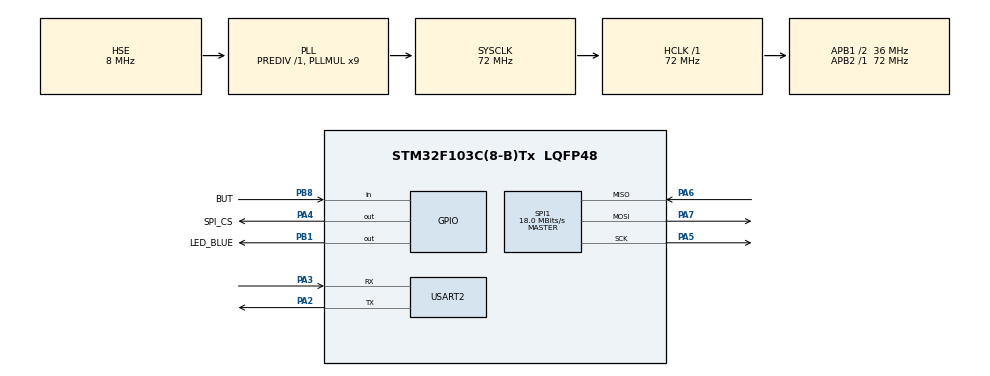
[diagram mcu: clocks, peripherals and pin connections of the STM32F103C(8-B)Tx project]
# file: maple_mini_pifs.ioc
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FREERTOS.HEAP_NUMBER=3
FREERTOS.Tasks01=defaultTask,0,1024,StartDefaultTask,Default,NULL,Dynamic,NULL,NULL
FREERTOS.configCHECK_FOR_STACK_OVERFLOW=2
FREERTOS.configGENERATE_RUN_TIME_STATS=1
FREERTOS.configTOTAL_HEAP_SIZE=10240
FREERTOS.configUSE_MALLOC_FAILED_HOOK=1
FREERTOS.configUSE_STATS_FORMATTING_FUNCTIONS=1
FREERTOS.configUSE_TRACE_FACILITY=1
IWDG.Prescaler=IWDG_PRESCALER_32
IWDG.Reload=1000
Mcu.Family=STM32F1
Mcu.Name=STM32F103C(8-B)Tx
Mcu.Package=LQFP48
NVIC.PriorityGroup=NVIC_PRIORITYGROUP_4
NVIC.TIM4_IRQn=true\:0\:0\:false\:false\:true\:false\:true
NVIC.TimeBase=TIM4_IRQn
NVIC.TimeBaseIP=TIM4
PA13.Mode=Serial_Wire
PA13.Signal=SYS_JTMS-SWDIO
PA14.Mode=Serial_Wire
PA14.Signal=SYS_JTCK-SWCLK
PA2.Mode=Asynchronous
PA2.Signal=USART2_TX
PA3.Mode=Asynchronous
PA3.Signal=USART2_RX
PA4.GPIO_Label=SPI_CS
PA4.Signal=GPIO_Output
PA5.Mode=Full_Duplex_Master
PA5.Signal=SPI1_SCK
PA6.Mode=Full_Duplex_Master
PA6.Signal=SPI1_MISO
PA7.Mode=Full_Duplex_Master
PA7.Signal=SPI1_MOSI
PB1.GPIO_Label=LED_BLUE
PB1.Signal=GPIO_Output
PB8.GPIO_Label=BUT
PB8.Signal=GPIO_Input
PD0-OSC_IN.Mode=HSE-External-Oscillator
PD0-OSC_IN.Signal=RCC_OSC_IN
PD1-OSC_OUT.Mode=HSE-External-Oscillator
PD1-OSC_OUT.Signal=RCC_OSC_OUT
ProjectManager.HeapSize=0x200
ProjectManager.StackSize=0x400
ProjectManager.TargetToolchain=SW4STM32
RCC.AHBFreq_Value=72000000
RCC.APB1CLKDivider=RCC_HCLK_DIV2
RCC.APB1Freq_Value=36000000
RCC.APB1TimFreq_Value=72000000
RCC.APB2Freq_Value=72000000
RCC.APB2TimFreq_Value=72000000
RCC.HCLKFreq_Value=72000000
RCC.PLLMUL=RCC_PLL_MUL9
RCC.PLLSourceVirtual=RCC_PLLSOURCE_HSE
RCC.SYSCLKFreq_VALUE=72000000
RCC.SYSCLKSource=RCC_SYSCLKSOURCE_PLLCLK
RCC.USBFreq_Value=72000000
SPI1.BaudRatePrescaler=SPI_BAUDRATEPRESCALER_4
SPI1.CalculateBaudRate=18.0 MBits/s
SPI1.Direction=SPI_DIRECTION_2LINES
SPI1.Mode=SPI_MODE_MASTER
SPI1.VirtualType=VM_MASTER
USART2.VirtualMode=VM_ASYNC
VP_FREERTOS_VS_ENABLE.Mode=Enabled
VP_IWDG_VS_IWDG.Mode=IWDG_Activate
VP_SYS_VS_tim4.Mode=TIM4
board=maple_mini_pifs

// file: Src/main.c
/**
  ******************************************************************************
  * @file           : main.c
  * @brief          : Main program body
  ******************************************************************************
  * This notice applies to any and all portions of this file
  * that are not between comment pairs USER CODE BEGIN and
  * USER CODE END. Other portions of this file, whether
  * inserted by the user or by software development tools
  * are owned by their respective copyright owners.
  *
  * Copyright (c) 2018 STMicroelectronics International N.V.
  * All rights reserved.
  *
  * Redistribution and use in source and binary forms, with or without
  * modification, are permitted, provided that the following conditions are met:
  *
  * 1. Redistribution of source code must retain the above copyright notice,
  *    this list of conditions and the following disclaimer.
  * 2. Redistributions in binary form must reproduce the above copyright notice,
  *    this list of conditions and the following disclaimer in the documentation
  *    and/or other materials provided with the distribution.
  * 3. Neither the name of STMicroelectronics nor the names of other
  *    contributors to this software may be used to endorse or promote products
  *    derived from this software without specific written permission.
  * 4. This software, including modifications and/or derivative works of this
  *    software, must execute solely and exclusively on microcontroller or
  *    microprocessor devices manufactured by or for STMicroelectronics.
  * 5. Redistribution and use of this software other than as permitted under
  *    this license is void and will automatically terminate your rights under
  *    this license.
  *
  * THIS SOFTWARE IS PROVIDED BY STMICROELECTRONICS AND CONTRIBUTORS "AS IS"
  * AND ANY EXPRESS, IMPLIED OR STATUTORY WARRANTIES, INCLUDING, BUT NOT
  * LIMITED TO, THE IMPLIED WARRANTIES OF MERCHANTABILITY, FITNESS FOR A
  * PARTICULAR PURPOSE AND NON-INFRINGEMENT OF THIRD PARTY INTELLECTUAL PROPERTY
  * RIGHTS ARE DISCLAIMED TO THE FULLEST EXTENT PERMITTED BY LAW. IN NO EVENT
  * SHALL STMICROELECTRONICS OR CONTRIBUTORS BE LIABLE FOR ANY DIRECT, INDIRECT,
  * INCIDENTAL, SPECIAL, EXEMPLARY, OR CONSEQUENTIAL DAMAGES (INCLUDING, BUT NOT
  * LIMITED TO, PROCUREMENT OF SUBSTITUTE GOODS OR SERVICES; LOSS OF USE, DATA,
  * OR PROFITS; OR BUSINESS INTERRUPTION) HOWEVER CAUSED AND ON ANY THEORY OF
  * LIABILITY, WHETHER IN CONTRACT, STRICT LIABILITY, OR TORT (INCLUDING
  * NEGLIGENCE OR OTHERWISE) ARISING IN ANY WAY OUT OF THE USE OF THIS SOFTWARE,
  * EVEN IF ADVISED OF THE POSSIBILITY OF SUCH DAMAGE.
  *
  ******************************************************************************
  */
#include "main.h"
#include "stm32f1xx_hal.h"
#include "cmsis_os.h"

/* USER CODE BEGIN Includes */
#include <stdio.h>
#include <string.h>
#include <stdarg.h>
#include "common.h"
#include "uart.h"
#include "../../../source/term/term.h"

#define DISABLE_WATCHDOG_MAGIC  0xDEADBEEF
#define ENABLE_TERMINAL         1
#define ENABLE_FLASH_TEST       0
#define ENABLE_PIFS_TEST        0
#define ENABLE_ERASE_ALL        0
/* USER CODE END Includes */

IWDG_HandleTypeDef hiwdg;

SPI_HandleTypeDef hspi1;

UART_HandleTypeDef huart2;

osThreadId defaultTaskHandle;

/* USER CODE BEGIN PV */
/* Private variables ---------------------------------------------------------*/
osThreadId watchdogTaskHandle;
osMutexDef(printf_mutex);
osMutexId printf_mutex = NULL;
uint32_t disableWatchdog = 0;
extern void defaultTask(void const * argument);
/* USER CODE END PV */

void SystemClock_Config(void);
static void MX_GPIO_Init(void);
static void MX_IWDG_Init(void);
static void MX_USART2_UART_Init(void);
static void MX_SPI1_Init(void);
void StartDefaultTask(void const * argument);

/* USER CODE BEGIN PFP */
/* Private function prototypes -----------------------------------------------*/
void watchdogTask(void const * arg);
/* USER CODE END PFP */

/* USER CODE BEGIN 0 */
static inline void LED_on(void)
{
    HAL_GPIO_WritePin(LED_BLUE_GPIO_Port, LED_BLUE_Pin, GPIO_PIN_SET);
}

static inline void LED_off(void)
{
    HAL_GPIO_WritePin(LED_BLUE_GPIO_Port, LED_BLUE_Pin, GPIO_PIN_RESET);
}

static inline void LED_toggle(void)
{
    HAL_GPIO_TogglePin(LED_BLUE_GPIO_Port, LED_BLUE_Pin);
}
/* USER CODE END 0 */

int main(void)
{

  /* MCU Configuration----------------------------------------------------------*/

  /* Reset of all peripherals, Initializes the Flash interface and the Systick. */
  HAL_Init();

  /* Configure the system clock */
  SystemClock_Config();

  /* USER CODE BEGIN SysInit */
  /* Enable division by zero fault */
  SCB->CCR |= 0x10;
  /* USER CODE END SysInit */

  /* Initialize all configured peripherals */
  MX_GPIO_Init();
  MX_IWDG_Init();
  MX_USART2_UART_Init();
  MX_SPI1_Init();
  /* USER CODE BEGIN 2 */
  srand(time(0));
  UART_printf_("\r\n\r\nBoard initialized\r\n");
#if DEBUG == 1
  UART_printf_("DEBUG\r\n");
#else
  UART_printf_("RELEASE\r\n");
#endif
  UART_printf_("Compiled on " __DATE__ " " __TIME__ "\r\n");
#if ENABLE_WATCHDOG
  UART_printf_("Watchdog started\r\n");
  HAL_IWDG_Refresh(&hiwdg);
#else
  UART_printf_("Watchdog disabled\r\n");
#endif
  setbuf(stdout, NULL);
  printf("+++ printf test! +++\r\n");
  /* USER CODE END 2 */

  /* USER CODE BEGIN RTOS_MUTEX */
  printf_mutex = osMutexCreate(osMutex(printf_mutex));
  /* USER CODE END RTOS_MUTEX */

  /* Create the thread(s) */
  /* definition and creation of defaultTask */
  osThreadDef(defaultTask, StartDefaultTask, osPriorityNormal, 0, 1024);
  defaultTaskHandle = osThreadCreate(osThread(defaultTask), NULL);

  /* USER CODE BEGIN RTOS_THREADS */
  osThreadDef(watchdogTask, watchdogTask, osPriorityNormal, 0, 64);
  watchdogTaskHandle = osThreadCreate(osThread(watchdogTask), NULL);
  /* USER CODE END RTOS_THREADS */

  /* Start scheduler */
  osKernelStart();

  /* We should never get here as control is now taken by the scheduler */

  /* Infinite loop */
  while (1)
  {

  }

}

void SystemClock_Config(void)
{

  RCC_OscInitTypeDef RCC_OscInitStruct;
  RCC_ClkInitTypeDef RCC_ClkInitStruct;

    /**Initializes the CPU, AHB and APB busses clocks
    */
  RCC_OscInitStruct.OscillatorType = RCC_OSCILLATORTYPE_LSI|RCC_OSCILLATORTYPE_HSE;
  RCC_OscInitStruct.HSEState = RCC_HSE_ON;
  RCC_OscInitStruct.HSEPredivValue = RCC_HSE_PREDIV_DIV1;
  RCC_OscInitStruct.HSIState = RCC_HSI_ON;
  RCC_OscInitStruct.LSIState = RCC_LSI_ON;
  RCC_OscInitStruct.PLL.PLLState = RCC_PLL_ON;
  RCC_OscInitStruct.PLL.PLLSource = RCC_PLLSOURCE_HSE;
  RCC_OscInitStruct.PLL.PLLMUL = RCC_PLL_MUL9;
  if (HAL_RCC_OscConfig(&RCC_OscInitStruct) != HAL_OK)
  {
    _Error_Handler(__FILE__, __LINE__);
  }

    /**Initializes the CPU, AHB and APB busses clocks
    */
  RCC_ClkInitStruct.ClockType = RCC_CLOCKTYPE_HCLK|RCC_CLOCKTYPE_SYSCLK
                              |RCC_CLOCKTYPE_PCLK1|RCC_CLOCKTYPE_PCLK2;
  RCC_ClkInitStruct.SYSCLKSource = RCC_SYSCLKSOURCE_PLLCLK;
  RCC_ClkInitStruct.AHBCLKDivider = RCC_SYSCLK_DIV1;
  RCC_ClkInitStruct.APB1CLKDivider = RCC_HCLK_DIV2;
  RCC_ClkInitStruct.APB2CLKDivider = RCC_HCLK_DIV1;

  if (HAL_RCC_ClockConfig(&RCC_ClkInitStruct, FLASH_LATENCY_2) != HAL_OK)
  {
    _Error_Handler(__FILE__, __LINE__);
  }

    /**Configure the Systick interrupt time
    */
  HAL_SYSTICK_Config(HAL_RCC_GetHCLKFreq()/1000);

    /**Configure the Systick
    */
  HAL_SYSTICK_CLKSourceConfig(SYSTICK_CLKSOURCE_HCLK);

  /* SysTick_IRQn interrupt configuration */
  HAL_NVIC_SetPriority(SysTick_IRQn, 15, 0);
}

/* IWDG init function */
static void MX_IWDG_Init(void)
{

  hiwdg.Instance = IWDG;
  hiwdg.Init.Prescaler = IWDG_PRESCALER_32;
  hiwdg.Init.Reload = 1000;
  if (HAL_IWDG_Init(&hiwdg) != HAL_OK)
  {
    _Error_Handler(__FILE__, __LINE__);
  }

}

/* SPI1 init function */
static void MX_SPI1_Init(void)
{

  /* SPI1 parameter configuration*/
  hspi1.Instance = SPI1;
  hspi1.Init.Mode = SPI_MODE_MASTER;
  hspi1.Init.Direction = SPI_DIRECTION_2LINES;
  hspi1.Init.DataSize = SPI_DATASIZE_8BIT;
  hspi1.Init.CLKPolarity = SPI_POLARITY_LOW;
  hspi1.Init.CLKPhase = SPI_PHASE_1EDGE;
  hspi1.Init.NSS = SPI_NSS_SOFT;
  hspi1.Init.BaudRatePrescaler = SPI_BAUDRATEPRESCALER_4;
  hspi1.Init.FirstBit = SPI_FIRSTBIT_MSB;
  hspi1.Init.TIMode = SPI_TIMODE_DISABLE;
  hspi1.Init.CRCCalculation = SPI_CRCCALCULATION_DISABLE;
  hspi1.Init.CRCPolynomial = 10;
  if (HAL_SPI_Init(&hspi1) != HAL_OK)
  {
    _Error_Handler(__FILE__, __LINE__);
  }

}

/* USART2 init function */
static void MX_USART2_UART_Init(void)
{

  huart2.Instance = USART2;
  huart2.Init.BaudRate = 115200;
  huart2.Init.WordLength = UART_WORDLENGTH_8B;
  huart2.Init.StopBits = UART_STOPBITS_1;
  huart2.Init.Parity = UART_PARITY_NONE;
  huart2.Init.Mode = UART_MODE_TX_RX;
  huart2.Init.HwFlowCtl = UART_HWCONTROL_NONE;
  huart2.Init.OverSampling = UART_OVERSAMPLING_16;
  if (HAL_UART_Init(&huart2) != HAL_OK)
  {
    _Error_Handler(__FILE__, __LINE__);
  }

}

/** Configure pins as
        * Analog
        * Input
        * Output
        * EVENT_OUT
        * EXTI
*/
static void MX_GPIO_Init(void)
{

  GPIO_InitTypeDef GPIO_InitStruct;

  /* GPIO Ports Clock Enable */
  __HAL_RCC_GPIOD_CLK_ENABLE();
  __HAL_RCC_GPIOA_CLK_ENABLE();
  __HAL_RCC_GPIOB_CLK_ENABLE();

  /*Configure GPIO pin Output Level */
  HAL_GPIO_WritePin(SPI_CS_GPIO_Port, SPI_CS_Pin, GPIO_PIN_RESET);

  /*Configure GPIO pin Output Level */
  HAL_GPIO_WritePin(LED_BLUE_GPIO_Port, LED_BLUE_Pin, GPIO_PIN_RESET);

  /*Configure GPIO pin : SPI_CS_Pin */
  GPIO_InitStruct.Pin = SPI_CS_Pin;
  GPIO_InitStruct.Mode = GPIO_MODE_OUTPUT_PP;
  GPIO_InitStruct.Speed = GPIO_SPEED_FREQ_LOW;
  HAL_GPIO_Init(SPI_CS_GPIO_Port, &GPIO_InitStruct);

  /*Configure GPIO pin : LED_BLUE_Pin */
  GPIO_InitStruct.Pin = LED_BLUE_Pin;
  GPIO_InitStruct.Mode = GPIO_MODE_OUTPUT_PP;
  GPIO_InitStruct.Speed = GPIO_SPEED_FREQ_LOW;
  HAL_GPIO_Init(LED_BLUE_GPIO_Port, &GPIO_InitStruct);

  /*Configure GPIO pin : BUT_Pin */
  GPIO_InitStruct.Pin = BUT_Pin;
  GPIO_InitStruct.Mode = GPIO_MODE_INPUT;
  GPIO_InitStruct.Pull = GPIO_NOPULL;
  HAL_GPIO_Init(BUT_GPIO_Port, &GPIO_InitStruct);

}

/* USER CODE BEGIN 4 */
/**
 * @brief watchdogTask LED blinking and watchdog reloading task.
 * @param arg
 */
void watchdogTask(void const * arg)
{
	(void) arg;

	for ( ; ; )
	{
#if ENABLE_WATCHDOG
        /*
         * Watchdog's timeout is 800 ms
         * Oscillator clock (LSI) = 40 kHz
         * Prescaler = /32
         * Down counter reload value = 1000
         * Timeout = 1 / ( 40000 / 32 ) * 1000 = 0.8 seconds
         */
        if (disableWatchdog != DISABLE_WATCHDOG_MAGIC)
        {
            /* Feed the watchdog */
            HAL_IWDG_Refresh(&hiwdg);
        }
#endif
        LED_toggle();
        osDelay(500);
    }
}

void vApplicationStackOverflowHook(TaskHandle_t xTask, char *pcTaskName)
{
    _print("\r\nStack overflow in task ");
    _print(pcTaskName);
    _print("\r\n");
    while(1)
    {
    }
}
/* USER CODE END 4 */

/* StartDefaultTask function */
void StartDefaultTask(void const * argument)
{

  /* USER CODE BEGIN 5 */
    //defaultTask(argument);
#if ENABLE_TERMINAL
    pifs_status_t ret;
    ret = pifs_init();
    if (ret != PIFS_SUCCESS)
    {
        printf("ERROR: Cannot initialize file system: %i\r\n", ret);
    }
    term_init();
    while (1)
    {
        term_task();
    }
#elif ENABLE_FLASH_TEST
    pifs_flash_init();
    flash_test();
    pifs_flash_delete();
#elif ENABLE_PIFS_TEST
#if ENABLE_ERASE_ALL
    pifs_flash_init();
	UART_printf("Erasing all blocks... ");
	if (flash_erase_all() == 0)
	{
	    UART_printf("Done.\r\n");
	}
	else
	{
	    UART_printf("ERROR!\r\n");
	}
	pifs_flash_delete();
#endif
	pifs_init();
	pifs_test();
    pifs_delete();
#endif
	  /* Infinite loop */
    UART_printf("Halting task\r\n");
	for(;;)
	{
	    osDelay(1);
	}
  /* USER CODE END 5 */
}

void HAL_TIM_PeriodElapsedCallback(TIM_HandleTypeDef *htim)
{
  if (htim->Instance == TIM4) {
    HAL_IncTick();
  }
}

void _Error_Handler(char *file, int line)
{
  /* USER CODE BEGIN Error_Handler_Debug */
    _print("\r\nFatal error in file ");
    _print(file);
    _print("at line 0x");
    _printHex32(line);
    _print("\r\n");
    /* User can add his own implementation to report the HAL error return state */
    while(1)
    {
    }
  /* USER CODE END Error_Handler_Debug */
}

/************************ (C) COPYRIGHT STMicroelectronics *****END OF FILE****/

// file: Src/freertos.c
/**
  ******************************************************************************
  * File Name          : freertos.c
  * Description        : Code for freertos applications
  ******************************************************************************
  * This notice applies to any and all portions of this file
  * that are not between comment pairs USER CODE BEGIN and
  * USER CODE END. Other portions of this file, whether
  * inserted by the user or by software development tools
  * are owned by their respective copyright owners.
  *
  * Copyright (c) 2018 STMicroelectronics International N.V.
  * All rights reserved.
  *
  * Redistribution and use in source and binary forms, with or without
  * modification, are permitted, provided that the following conditions are met:
  *
  * 1. Redistribution of source code must retain the above copyright notice,
  *    this list of conditions and the following disclaimer.
  * 2. Redistributions in binary form must reproduce the above copyright notice,
  *    this list of conditions and the following disclaimer in the documentation
  *    and/or other materials provided with the distribution.
  * 3. Neither the name of STMicroelectronics nor the names of other
  *    contributors to this software may be used to endorse or promote products
  *    derived from this software without specific written permission.
  * 4. This software, including modifications and/or derivative works of this
  *    software, must execute solely and exclusively on microcontroller or
  *    microprocessor devices manufactured by or for STMicroelectronics.
  * 5. Redistribution and use of this software other than as permitted under
  *    this license is void and will automatically terminate your rights under
  *    this license.
  *
  * THIS SOFTWARE IS PROVIDED BY STMICROELECTRONICS AND CONTRIBUTORS "AS IS"
  * AND ANY EXPRESS, IMPLIED OR STATUTORY WARRANTIES, INCLUDING, BUT NOT
  * LIMITED TO, THE IMPLIED WARRANTIES OF MERCHANTABILITY, FITNESS FOR A
  * PARTICULAR PURPOSE AND NON-INFRINGEMENT OF THIRD PARTY INTELLECTUAL PROPERTY
  * RIGHTS ARE DISCLAIMED TO THE FULLEST EXTENT PERMITTED BY LAW. IN NO EVENT
  * SHALL STMICROELECTRONICS OR CONTRIBUTORS BE LIABLE FOR ANY DIRECT, INDIRECT,
  * INCIDENTAL, SPECIAL, EXEMPLARY, OR CONSEQUENTIAL DAMAGES (INCLUDING, BUT NOT
  * LIMITED TO, PROCUREMENT OF SUBSTITUTE GOODS OR SERVICES; LOSS OF USE, DATA,
  * OR PROFITS; OR BUSINESS INTERRUPTION) HOWEVER CAUSED AND ON ANY THEORY OF
  * LIABILITY, WHETHER IN CONTRACT, STRICT LIABILITY, OR TORT (INCLUDING
  * NEGLIGENCE OR OTHERWISE) ARISING IN ANY WAY OUT OF THE USE OF THIS SOFTWARE,
  * EVEN IF ADVISED OF THE POSSIBILITY OF SUCH DAMAGE.
  *
  ******************************************************************************
  */

#include "FreeRTOS.h"
#include "task.h"

/* Hook prototypes */
void configureTimerForRunTimeStats(void);
unsigned long getRunTimeCounterValue(void);
void vApplicationStackOverflowHook(xTaskHandle xTask, signed char *pcTaskName);
void vApplicationMallocFailedHook(void);

/* USER CODE BEGIN 1 */
/* Functions needed when configGENERATE_RUN_TIME_STATS is on */
__weak void configureTimerForRunTimeStats(void)
{

}

__weak unsigned long getRunTimeCounterValue(void)
{
return 0;
}
/* USER CODE END 1 */

/* USER CODE BEGIN 4 */
__weak void vApplicationStackOverflowHook(xTaskHandle xTask, signed char *pcTaskName)
{
   /* Run time stack overflow checking is performed if
   configCHECK_FOR_STACK_OVERFLOW is defined to 1 or 2. This hook function is
   called if a stack overflow is detected. */
}
/* USER CODE END 4 */

/* USER CODE BEGIN 5 */
__weak void vApplicationMallocFailedHook(void)
{
   /* vApplicationMallocFailedHook() will only be called if
   configUSE_MALLOC_FAILED_HOOK is set to 1 in FreeRTOSConfig.h. It is a hook
   function that will get called if a call to pvPortMalloc() fails.
   pvPortMalloc() is called internally by the kernel whenever a task, queue,
   timer or semaphore is created. It is also called by various parts of the
   demo application. If heap_1.c or heap_2.c are used, then the size of the
   heap available to pvPortMalloc() is defined by configTOTAL_HEAP_SIZE in
   FreeRTOSConfig.h, and the xPortGetFreeHeapSize() API function can be used
   to query the size of free heap space that remains (although it does not
   provide information on how the remaining heap might be fragmented). */
}
/* USER CODE END 5 */

/************************ (C) COPYRIGHT STMicroelectronics *****END OF FILE****/
